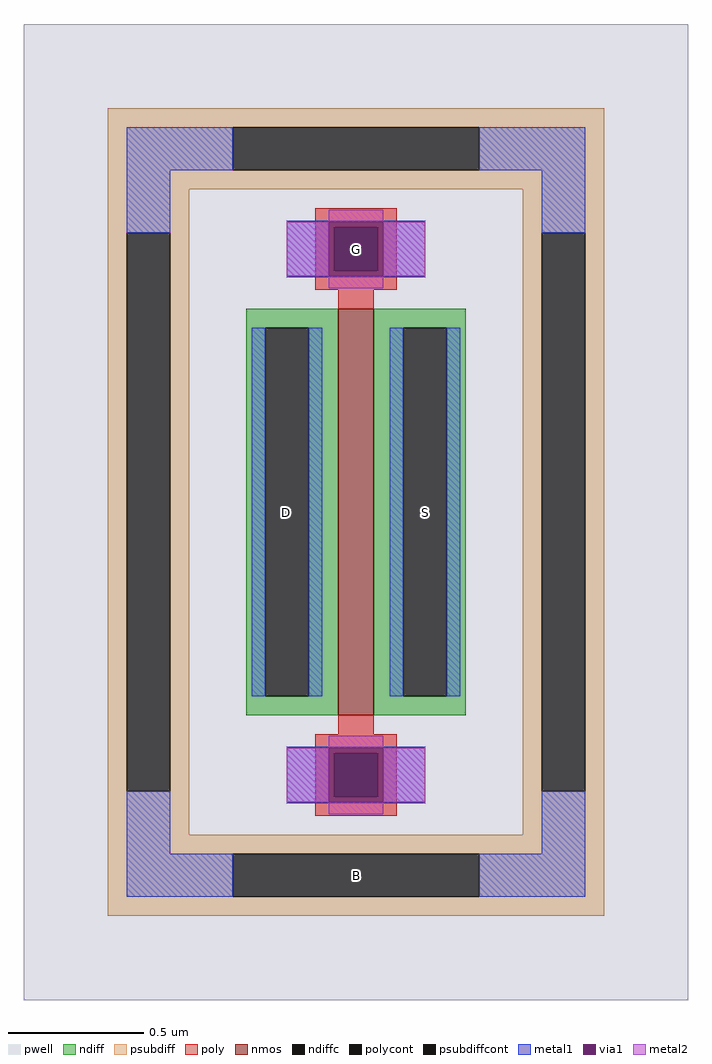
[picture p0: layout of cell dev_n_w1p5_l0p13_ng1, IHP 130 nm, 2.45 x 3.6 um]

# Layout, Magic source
magic
tech ihp-sg13cmos5l
magscale 1 2
<< pwell >>
rect -245 -360 245 360
<< nmos >>
rect -13 -150 13 150
<< ndiff >>
rect -81 136 -13 150
rect -81 -136 -67 136
rect -35 -136 -13 136
rect -81 -150 -13 -136
rect 13 136 81 150
rect 13 -136 35 136
rect 67 -136 81 136
rect 13 -150 81 -136
<< ndiffc >>
rect -67 -136 -35 136
rect 35 -136 67 136
<< psubdiff >>
rect -183 284 183 298
rect -183 252 -91 284
rect 91 252 183 284
rect -183 238 183 252
rect -183 206 -123 238
rect -183 -206 -169 206
rect -137 -206 -123 206
rect 123 206 183 238
rect -183 -238 -123 -206
rect 123 -206 137 206
rect 169 -206 183 206
rect 123 -238 183 -206
rect -183 -252 183 -238
rect -183 -284 -91 -252
rect 91 -284 183 -252
rect -183 -298 183 -284
<< psubdiffcont >>
rect -91 252 91 284
rect -169 -206 -137 206
rect 137 -206 169 206
rect -91 -284 91 -252
<< poly >>
rect -30 210 30 224
rect -30 178 -16 210
rect 16 178 30 210
rect -30 164 30 178
rect -13 150 13 164
rect -13 -164 13 -150
rect -30 -178 30 -164
rect -30 -210 -16 -178
rect 16 -210 30 -178
rect -30 -224 30 -210
<< polycont >>
rect -16 178 16 210
rect -16 -210 16 -178
<< metal1 >>
rect -169 252 -91 284
rect 91 252 169 284
rect -169 206 -137 252
rect -51 214 51 215
rect -51 174 -20 214
rect 20 174 51 214
rect -51 173 51 174
rect 137 206 169 252
rect -77 -136 -67 136
rect -35 -136 -25 136
rect 25 -136 35 136
rect 67 -136 77 136
rect -169 -252 -137 -206
rect -51 -174 51 -173
rect -51 -214 -20 -174
rect 20 -214 51 -174
rect -51 -215 51 -214
rect 137 -252 169 -206
rect -169 -284 -91 -252
rect 91 -284 169 -252
<< via1 >>
rect -20 210 20 214
rect -20 178 -16 210
rect -16 178 16 210
rect 16 178 20 210
rect -20 174 20 178
rect -20 -178 20 -174
rect -20 -210 -16 -178
rect -16 -210 16 -178
rect 16 -210 20 -178
rect -20 -214 20 -210
<< metal2 >>
rect -20 214 20 223
rect -51 174 -20 214
rect 20 174 51 214
rect -20 165 20 174
rect -20 -174 20 -165
rect -51 -214 -20 -174
rect 20 -214 51 -174
rect -20 -223 20 -214
<< labels >>
rlabel psubdiffcont 0 -268 0 -268 0 B
port 1 nsew
rlabel ndiffc -51 0 -51 0 0 D
port 2 nsew
rlabel ndiffc 51 0 51 0 0 S
port 3 nsew
rlabel polycont 0 194 0 194 0 G
port 4 nsew
<< properties >>
string FIXED_BBOX -153 -268 153 268
string gencell sg13_lv_nmos
string library sg13cmos5l
string parameters w 1.5 l 0.13 m 1 ng 1 diffcov 100 polycov 100 guard 1 glc 1 grc 1 gtc 1 gbc 1 tbcov 100 rlcov 100 topc 1 botc 1 poverlap 0 doverlap 1 lmin 0.13 wmin 0.15 class mosfet compatible {sg13_lv_nmos sg13_hv_nmos} full_metal 1 conn_gates 1 gate_ring 0 doports 1 viasrc 0 viadrn 0 viagate 100 ccols 1 viagb 0 viagr 0 viagl 0 viagt 0
<< end >>
